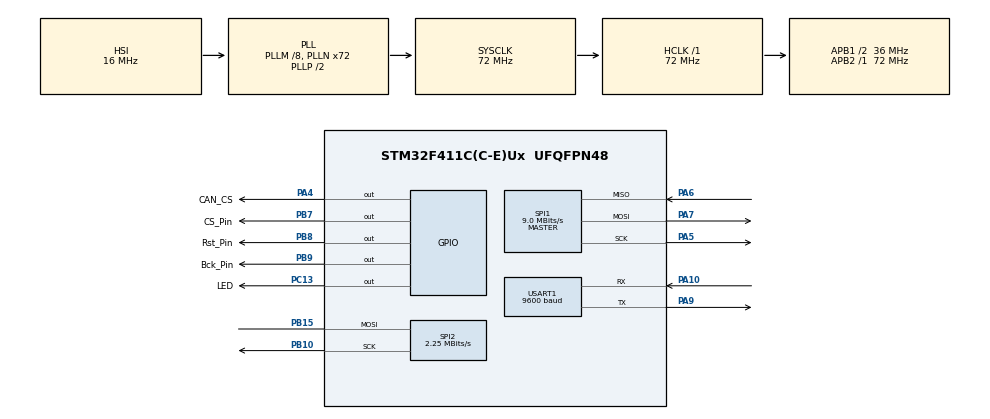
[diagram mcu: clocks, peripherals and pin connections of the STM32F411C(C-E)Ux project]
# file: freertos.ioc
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Dma.Request0=USART1_RX
Dma.Request1=USART1_TX
Dma.USART1_RX.0.Direction=DMA_PERIPH_TO_MEMORY
Dma.USART1_RX.0.FIFOMode=DMA_FIFOMODE_DISABLE
Dma.USART1_RX.0.Instance=DMA2_Stream2
Dma.USART1_RX.0.MemDataAlignment=DMA_MDATAALIGN_BYTE
Dma.USART1_RX.0.MemInc=DMA_MINC_ENABLE
Dma.USART1_RX.0.Mode=DMA_NORMAL
Dma.USART1_RX.0.PeriphDataAlignment=DMA_PDATAALIGN_BYTE
Dma.USART1_RX.0.PeriphInc=DMA_PINC_DISABLE
Dma.USART1_RX.0.Priority=DMA_PRIORITY_LOW
Dma.USART1_TX.1.Direction=DMA_MEMORY_TO_PERIPH
Dma.USART1_TX.1.FIFOMode=DMA_FIFOMODE_DISABLE
Dma.USART1_TX.1.Instance=DMA2_Stream7
Dma.USART1_TX.1.MemDataAlignment=DMA_MDATAALIGN_BYTE
Dma.USART1_TX.1.MemInc=DMA_MINC_ENABLE
Dma.USART1_TX.1.Mode=DMA_NORMAL
Dma.USART1_TX.1.PeriphDataAlignment=DMA_PDATAALIGN_BYTE
Dma.USART1_TX.1.PeriphInc=DMA_PINC_DISABLE
Dma.USART1_TX.1.Priority=DMA_PRIORITY_LOW
FREERTOS.Tasks01=defaultTask,24,128,StartDefaultTask,Default,NULL,Dynamic,NULL,NULL
Mcu.Family=STM32F4
Mcu.Name=STM32F411C(C-E)Ux
Mcu.Package=UFQFPN48
NVIC.DMA2_Stream2_IRQn=true\:5\:0\:false\:false\:true\:true\:false\:true\:true
NVIC.DMA2_Stream7_IRQn=true\:5\:0\:false\:false\:true\:true\:false\:true\:true
NVIC.PriorityGroup=NVIC_PRIORITYGROUP_4
NVIC.TIM2_IRQn=true\:15\:0\:false\:false\:true\:false\:false\:true\:true
NVIC.TimeBase=TIM2_IRQn
NVIC.TimeBaseIP=TIM2
PA10.Mode=Asynchronous
PA10.Signal=USART1_RX
PA13.Mode=Serial_Wire
PA13.Signal=SYS_JTMS-SWDIO
PA14.Mode=Serial_Wire
PA14.Signal=SYS_JTCK-SWCLK
PA4.GPIO_Label=CAN_CS
PA4.Signal=GPIO_Output
PA5.Mode=Full_Duplex_Master
PA5.Signal=SPI1_SCK
PA6.Mode=Full_Duplex_Master
PA6.Signal=SPI1_MISO
PA7.Mode=Full_Duplex_Master
PA7.Signal=SPI1_MOSI
PA9.Mode=Asynchronous
PA9.Signal=USART1_TX
PB10.Mode=Simplex_Bidirectional_Master
PB10.Signal=SPI2_SCK
PB15.Mode=Simplex_Bidirectional_Master
PB15.Signal=SPI2_MOSI
PB7.GPIO_Label=CS_Pin
PB7.Signal=GPIO_Output
PB8.GPIO_Label=Rst_Pin
PB8.Signal=GPIO_Output
PB9.GPIO_Label=Bck_Pin
PB9.Signal=GPIO_Output
PC13-ANTI_TAMP.GPIO_Label=LED
PC13-ANTI_TAMP.PinState=GPIO_PIN_SET
PC13-ANTI_TAMP.Signal=GPIO_Output
ProjectManager.HeapSize=0x200
ProjectManager.StackSize=0x400
ProjectManager.TargetToolchain=STM32CubeIDE
RCC.48MHZClocksFreq_Value=36000000
RCC.AHBFreq_Value=72000000
RCC.APB1CLKDivider=RCC_HCLK_DIV2
RCC.APB1Freq_Value=36000000
RCC.APB1TimFreq_Value=72000000
RCC.APB2Freq_Value=72000000
RCC.APB2TimFreq_Value=72000000
RCC.CortexFreq_Value=72000000
RCC.HCLKFreq_Value=72000000
RCC.HSE_VALUE=25000000
RCC.HSI_VALUE=16000000
RCC.LSE_VALUE=32768
RCC.PLLM=8
RCC.PLLN=72
RCC.SYSCLKFreq_VALUE=72000000
RCC.SYSCLKSource=RCC_SYSCLKSOURCE_PLLCLK
RCC.VCOOutputFreq_Value=144000000
SPI1.BaudRatePrescaler=SPI_BAUDRATEPRESCALER_8
SPI1.CalculateBaudRate=9.0 MBits/s
SPI1.Direction=SPI_DIRECTION_2LINES
SPI1.Mode=SPI_MODE_MASTER
SPI1.VirtualType=VM_MASTER
SPI2.BaudRatePrescaler=SPI_BAUDRATEPRESCALER_16
SPI2.CalculateBaudRate=2.25 MBits/s
SPI2.Direction=SPI_DIRECTION_1LINE
SPI2.Mode=SPI_MODE_MASTER
SPI2.VirtualType=VM_MASTER
TIM1.Prescaler=72-1
USART1.BaudRate=9600
USART1.VirtualMode=VM_ASYNC
VP_FREERTOS_VS_CMSIS_V2.Mode=CMSIS_V2
VP_SYS_VS_tim2.Mode=TIM2
VP_TIM1_VS_ClockSourceINT.Mode=Internal
board=custom

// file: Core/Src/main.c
/* USER CODE BEGIN Header */
/**
  ******************************************************************************
  * @file           : main.c
  * @brief          : Main program body
  ******************************************************************************
  * @attention
  *
  * Copyright (c) 2025 STMicroelectronics.
  * All rights reserved.
  *
  * This software is licensed under terms that can be found in the LICENSE file
  * in the root directory of this software component.
  * If no LICENSE file comes with this software, it is provided AS-IS.
  *
  ******************************************************************************
  */
/* USER CODE END Header */
#include "main.h"
#include "cmsis_os.h"
#include "dma.h"
#include "spi.h"
#include "tim.h"
#include "usart.h"
#include "gpio.h"

/* USER CODE BEGIN Includes */
#include "ST7735.h"
/* USER CODE END Includes */

void SystemClock_Config(void);
void MX_FREERTOS_Init(void);

int main(void)
{

  /* MCU Configuration--------------------------------------------------------*/

  /* Reset of all peripherals, Initializes the Flash interface and the Systick. */
  HAL_Init();

  /* Configure the system clock */
  SystemClock_Config();

  /* Initialize all configured peripherals */
  MX_GPIO_Init();
  MX_DMA_Init();
  MX_USART1_UART_Init();
  MX_SPI1_Init();
  MX_TIM1_Init();
  MX_SPI2_Init();
  /* USER CODE BEGIN 2 */
  ST7735_Init(1);
  /* USER CODE END 2 */

  /* Init scheduler */
  osKernelInitialize();

  /* Call init function for freertos objects (in cmsis_os2.c) */
  MX_FREERTOS_Init();

  /* Start scheduler */
  osKernelStart();

  /* We should never get here as control is now taken by the scheduler */

  /* Infinite loop */
  while (1)
  {

  }
}

void SystemClock_Config(void)
{
  RCC_OscInitTypeDef RCC_OscInitStruct = {0};
  RCC_ClkInitTypeDef RCC_ClkInitStruct = {0};

  /** Configure the main internal regulator output voltage
  */
  __HAL_RCC_PWR_CLK_ENABLE();
  __HAL_PWR_VOLTAGESCALING_CONFIG(PWR_REGULATOR_VOLTAGE_SCALE1);

  /** Initializes the RCC Oscillators according to the specified parameters
  * in the RCC_OscInitTypeDef structure.
  */
  RCC_OscInitStruct.OscillatorType = RCC_OSCILLATORTYPE_HSI;
  RCC_OscInitStruct.HSIState = RCC_HSI_ON;
  RCC_OscInitStruct.HSICalibrationValue = RCC_HSICALIBRATION_DEFAULT;
  RCC_OscInitStruct.PLL.PLLState = RCC_PLL_ON;
  RCC_OscInitStruct.PLL.PLLSource = RCC_PLLSOURCE_HSI;
  RCC_OscInitStruct.PLL.PLLM = 8;
  RCC_OscInitStruct.PLL.PLLN = 72;
  RCC_OscInitStruct.PLL.PLLP = RCC_PLLP_DIV2;
  RCC_OscInitStruct.PLL.PLLQ = 4;
  if (HAL_RCC_OscConfig(&RCC_OscInitStruct) != HAL_OK)
  {
    Error_Handler();
  }

  /** Initializes the CPU, AHB and APB buses clocks
  */
  RCC_ClkInitStruct.ClockType = RCC_CLOCKTYPE_HCLK|RCC_CLOCKTYPE_SYSCLK
                              |RCC_CLOCKTYPE_PCLK1|RCC_CLOCKTYPE_PCLK2;
  RCC_ClkInitStruct.SYSCLKSource = RCC_SYSCLKSOURCE_PLLCLK;
  RCC_ClkInitStruct.AHBCLKDivider = RCC_SYSCLK_DIV1;
  RCC_ClkInitStruct.APB1CLKDivider = RCC_HCLK_DIV2;
  RCC_ClkInitStruct.APB2CLKDivider = RCC_HCLK_DIV1;

  if (HAL_RCC_ClockConfig(&RCC_ClkInitStruct, FLASH_LATENCY_2) != HAL_OK)
  {
    Error_Handler();
  }
}

void HAL_TIM_PeriodElapsedCallback(TIM_HandleTypeDef *htim)
{
  if (htim->Instance == TIM2) {
    HAL_IncTick();
  }
}

void Error_Handler(void)
{
  __disable_irq();
  while (1)
  {
  }
}

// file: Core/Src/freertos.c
/* USER CODE BEGIN Header */
/**
  ******************************************************************************
  * File Name          : freertos.c
  * Description        : Code for freertos applications
  ******************************************************************************
  * @attention
  *
  * Copyright (c) 2025 STMicroelectronics.
  * All rights reserved.
  *
  * This software is licensed under terms that can be found in the LICENSE file
  * in the root directory of this software component.
  * If no LICENSE file comes with this software, it is provided AS-IS.
  *
  ******************************************************************************
  */
/* USER CODE END Header */

#include "FreeRTOS.h"
#include "task.h"
#include "main.h"
#include "cmsis_os.h"

/* USER CODE BEGIN Includes */
#include "queue.h"
#include <stdio.h>
#include <stdlib.h>
#include <string.h>
#include "tim.h"
#include "spi.h"
#include "usart.h"
#include "can.h"
#include "mcp2515.h"
#include "ST7735.h"
#include "GFX_FUNCTIONS.h"
/* USER CODE END Includes */

/* USER CODE BEGIN Variables */
 QueueHandle_t xQueue;

 extern SPI_HandleTypeDef hspi2;
 extern TIM_HandleTypeDef htim1;
 extern UART_HandleTypeDef huart1;

/* USER CODE END Variables */
/* Definitions for defaultTask */
osThreadId_t defaultTaskHandle;
const osThreadAttr_t defaultTask_attributes = {
  .name = "defaultTask",
  .stack_size = 128 * 4,
  .priority = (osPriority_t) osPriorityNormal,
};

/* USER CODE BEGIN FunctionPrototypes */
void DhtTask(void *parameter);
void LcdTask(void *parameter);
int _write(int file, char* p, int len){
	HAL_UART_Transmit(&huart1, (uint8_t*)p, len, HAL_MAX_DELAY);
	return len;
}
/* USER CODE END FunctionPrototypes */

void StartDefaultTask(void *argument);

void MX_FREERTOS_Init(void); /* (MISRA C 2004 rule 8.1) */

void MX_FREERTOS_Init(void) {

  /* USER CODE BEGIN RTOS_QUEUES */
	xQueue= xQueueCreate(5, sizeof(float));
  /* add queues, ... */
  /* USER CODE END RTOS_QUEUES */

  /* Create the thread(s) */
  /* creation of defaultTask */
  defaultTaskHandle = osThreadNew(StartDefaultTask, NULL, &defaultTask_attributes);

  /* USER CODE BEGIN RTOS_THREADS */
  xTaskCreate(DhtTask,"DhtTask",128,NULL,3,NULL);
  xTaskCreate(LcdTask,"LcdTask",128,NULL,1,NULL);
  /* add threads, ... */
  /* USER CODE END RTOS_THREADS */

}

void StartDefaultTask(void *argument)
{
  for(;;)
  {
    osDelay(1);
  }
}

/* USER CODE BEGIN Application */
void DhtTask(void *parameter)
{
	uCAN_MSG rxMessage;
	uint16_t rxValue1;
	uint16_t rxValue2;
	CANSPI_Initialize();
	fillScreen(BLACK);

	for(;;)
	{

		if(CANSPI_Receive(&rxMessage))
	    {
	        rxValue1 = ((uint16_t)rxMessage.frame.data0 << 8) | rxMessage.frame.data1;
	        rxValue2 = ((uint16_t)rxMessage.frame.data2 << 8) | rxMessage.frame.data3;
	        float temp = ((float)rxValue1)*0.01;
	        float humi = ((float)rxValue2)*0.01;
	        xQueueSendToBack(xQueue, &temp, portMAX_DELAY);
	        xQueueSendToBack(xQueue, &humi, portMAX_DELAY);

	    }
		vTaskDelay(pdMS_TO_TICKS(500));
	}
}

void LcdTask(void *parameter)
{

	float temperature=0.0, humidity=0.0;
	char data1[10];
	char data2[10];
	for(;;)
	{

		if(xQueueReceive(xQueue, &temperature , portMAX_DELAY)==pdTRUE)
		{
			if(xQueueReceive(xQueue, &humidity , portMAX_DELAY)==pdTRUE)
			{

				ST7735_SetRotation(1);
				ST7735_WriteString(0,0, "temp : ", Font_11x18, WHITE, BLACK);
				snprintf(data1, sizeof(data1),"%.2f",temperature);
				ST7735_SetRotation(1);
				ST7735_WriteString(0,30, data1, Font_11x18, MAGENTA, BLACK);

				ST7735_SetRotation(1);
				ST7735_WriteString(0,60, "humi : ", Font_11x18, GREEN, BLACK);
				snprintf(data2, sizeof(data2),"%.2f",humidity);
				ST7735_SetRotation(1);
				ST7735_WriteString(0,90, data2, Font_11x18, MAGENTA, BLACK);

			}
		}
		vTaskDelay(pdMS_TO_TICKS(500));
	}

}

/* USER CODE END Application */
